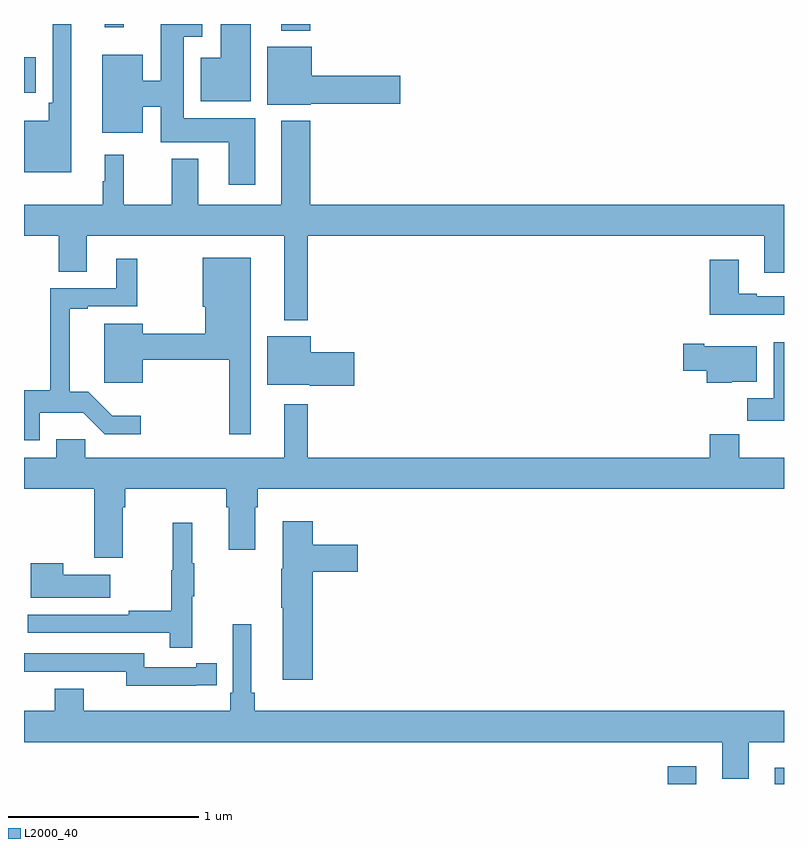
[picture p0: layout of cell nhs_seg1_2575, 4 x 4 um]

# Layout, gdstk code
import gdstk
lib = gdstk.Library(unit=1e-6, precision=1e-09)
def R(c, l, rs):  # rectangles x0, y0, x1, y1
    for r in rs: c.add(gdstk.rectangle(r[:2], r[2:], *l))
def P(c, l, *ps):  # polygons
    for p in ps: c.add(gdstk.Polygon(p, *l))
L2000_40 = (2000, 40)

nhs_seg1_2575 = lib.new_cell('nhs_seg1_2575')
R(nhs_seg1_2575, L2000_40, [(254.387,530.199,254.539,530.293), (254.951,530.199,255,530.284), (251,533.837,251.062,534.025), (252.353,534.164,252.506,534.199), (251.426,534.183,251.525,534.199)])
P(nhs_seg1_2575, L2000_40, [(251.248,534.199),(251.151,534.199),(251.151,533.785),(251.131,533.785),(251.131,533.689),(251,533.689),(251,533.42),(251.248,533.42)],
  [(252.217,533.704),(251.842,533.704),(251.842,534.131),(251.938,534.131),(251.938,534.199),(251.72,534.199),(251.72,533.9),(251.626,533.9),(251.626,534.037),(251.411,534.037),(251.411,533.627),(251.626,533.627),(251.626,533.764),(251.72,533.764),(251.72,533.576),(252.077,533.576),(252.077,533.352),(252.217,533.352)],
  [(252.193,534.199),(252.035,534.199),(252.035,534.022),(251.93,534.022),(251.93,533.792),(252.193,533.792)],
  [(252.51,533.78),(252.979,533.78),(252.979,533.927),(252.514,533.927),(252.514,534.079),(252.281,534.079),(252.281,533.774),(252.51,533.774)],
  [(252.493,533.084),(254.897,533.084),(254.897,532.89),(255,532.89),(255,533.248),(252.506,533.248),(252.506,533.689),(252.353,533.689),(252.353,533.248),(251.917,533.248),(251.917,533.491),(251.777,533.491),(251.777,533.248),(251.526,533.248),(251.526,533.512),(251.426,533.512),(251.426,533.372),(251.415,533.372),(251.415,533.248),(251,533.248),(251,533.084),(251.182,533.084),(251.182,532.894),(251.329,532.894),(251.329,533.084),(252.371,533.084),(252.371,532.64),(252.493,532.64)],
  [(252.193,532.969),(251.942,532.969),(251.942,532.71),(251.954,532.71),(251.954,532.568),(251.626,532.568),(251.626,532.621),(251.423,532.621),(251.423,532.311),(251.626,532.311),(251.626,532.432),(252.079,532.432),(252.079,532.041),(252.193,532.041)],
  [(251.082,532.154),(251.311,532.154),(251.424,532.041),(251.614,532.041),(251.614,532.138),(251.465,532.138),(251.339,532.264),(251.24,532.264),(251.24,532.701),(251.335,532.701),(251.335,532.713),(251.596,532.713),(251.596,532.963),(251.486,532.963),(251.486,532.809),(251.137,532.809),(251.137,532.271),(251,532.271),(251,532.008),(251.082,532.008)],
  [(255,532.767),(254.857,532.767),(254.857,532.78),(254.761,532.78),(254.761,532.957),(254.609,532.957),(254.609,532.67),(255,532.67)],
  [(252.739,532.472),(252.508,532.472),(252.508,532.555),(252.281,532.555),(252.281,532.301),(252.504,532.301),(252.504,532.294),(252.739,532.294)],
  [(255,532.525),(254.945,532.525),(254.945,532.228),(254.806,532.228),(254.806,532.11),(255,532.11)],
  [(254.724,532.316),(254.857,532.316),(254.857,532.504),(254.581,532.504),(254.581,532.517),(254.469,532.517),(254.469,532.375),(254.594,532.375),(254.594,532.31),(254.724,532.31)],
  [(251.521,531.656),(251.534,531.656),(251.534,531.752),(252.065,531.752),(252.065,531.656),(252.077,531.656),(252.077,531.432),(252.217,531.432),(252.217,531.656),(252.23,531.656),(252.23,531.752),(255,531.752),(255,531.916),(254.765,531.916),(254.765,532.04),(254.609,532.04),(254.609,531.916),(252.493,531.916),(252.493,532.198),(252.371,532.198),(252.371,531.916),(251.323,531.916),(251.323,532.014),(251.171,532.014),(251.171,531.916),(251,531.916),(251,531.752),(251.369,531.752),(251.369,531.39),(251.521,531.39)],
  [(252.521,531.317),(252.757,531.317),(252.757,531.459),(252.521,531.459),(252.521,531.583),(252.362,531.583),(252.362,531.333),(252.355,531.333),(252.355,531.127),(252.362,531.127),(252.362,530.748),(252.521,530.748)],
  [(251.885,531.187),(251.896,531.187),(251.896,531.361),(251.885,531.361),(251.885,531.574),(251.782,531.574),(251.782,531.324),(251.775,531.324),(251.775,531.11),(251.551,531.11),(251.551,531.09),(251.019,531.09),(251.019,530.994),(251.767,530.994),(251.767,530.916),(251.885,530.916)],
  [(251.455,531.301),(251.207,531.301),(251.207,531.361),(251.036,531.361),(251.036,531.179),(251.455,531.179)],
  [(251.162,530.701),(251.162,530.584),(251,530.584),(251,530.42),(254.675,530.42),(254.675,530.226),(254.815,530.226),(254.815,530.42),(255,530.42),(255,530.584),(252.215,530.584),(252.215,530.68),(252.196,530.68),(252.196,531.04),(252.099,531.04),(252.099,530.68),(252.086,530.68),(252.086,530.584),(251.314,530.584),(251.314,530.701)],
  [(251.906,530.718),(252.014,530.718),(252.014,530.834),(251.906,530.834),(251.906,530.814),(251.634,530.814),(251.634,530.886),(251,530.886),(251,530.789),(251.078,530.789),(251.078,530.79),(251.538,530.79),(251.538,530.717),(251.906,530.717)])

lib.write_gds('nhs_seg1_2575.gds')
